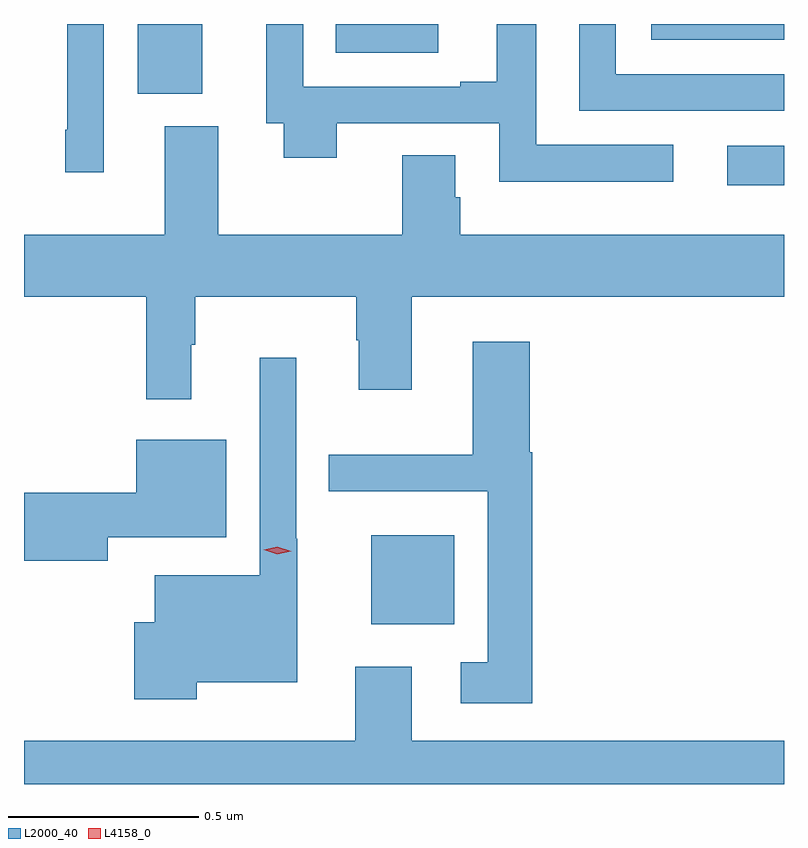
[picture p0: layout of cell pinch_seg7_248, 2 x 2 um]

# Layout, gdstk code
import gdstk
lib = gdstk.Library(unit=1e-6, precision=1e-09)
def R(c, l, rs):  # rectangles x0, y0, x1, y1
    for r in rs: c.add(gdstk.rectangle(r[:2], r[2:], *l))
def P(c, l, *ps):  # polygons
    for p in ps: c.add(gdstk.Polygon(p, *l))
L2000_40 = (2000, 40)
L4158_0 = (4158, 0)

pinch_seg7_248 = lib.new_cell('pinch_seg7_248')
R(pinch_seg7_248, L2000_40, [(845.072,1063.691,845.29,1063.924), (846.009,1064.846,846.158,1064.95), (844.457,1065.086,844.627,1065.27), (844.978,1065.195,845.248,1065.27), (845.808,1065.228,846.158,1065.27)])
P(pinch_seg7_248, L2000_40, [(846.158,1065.138),(845.715,1065.138),(845.715,1065.27),(845.619,1065.27),(845.619,1065.042),(846.158,1065.042)],
  [(844.368,1065.27),(844.272,1065.27),(844.272,1064.992),(844.267,1064.992),(844.267,1064.88),(844.368,1064.88)],
  [(845.866,1064.952),(845.506,1064.952),(845.506,1065.27),(845.402,1065.27),(845.402,1065.118),(845.306,1065.118),(845.306,1065.105),(844.893,1065.105),(844.893,1065.27),(844.796,1065.27),(844.796,1065.009),(844.841,1065.009),(844.841,1064.918),(844.981,1064.918),(844.981,1065.009),(845.409,1065.009),(845.409,1064.855),(845.866,1064.855)],
  [(844.529,1064.716),(844.158,1064.716),(844.158,1064.552),(844.48,1064.552),(844.48,1064.283),(844.598,1064.283),(844.598,1064.426),(844.609,1064.426),(844.609,1064.552),(845.032,1064.552),(845.032,1064.438),(845.039,1064.438),(845.039,1064.307),(845.179,1064.307),(845.179,1064.552),(846.158,1064.552),(846.158,1064.716),(845.306,1064.716),(845.306,1064.814),(845.293,1064.814),(845.293,1064.924),(845.153,1064.924),(845.153,1064.716),(844.669,1064.716),(844.669,1065.001),(844.529,1065.001)],
  [(845.495,1064.143),(845.489,1064.143),(845.489,1064.434),(845.339,1064.434),(845.339,1064.137),(844.96,1064.137),(844.96,1064.04),(845.379,1064.04),(845.379,1063.591),(845.307,1063.591),(845.307,1063.482),(845.495,1063.482)],
  [(844.612,1063.538),(844.877,1063.538),(844.877,1063.915),(844.875,1063.915),(844.875,1064.392),(844.779,1064.392),(844.779,1063.819),(844.502,1063.819),(844.502,1063.696),(844.448,1063.696),(844.448,1063.493),(844.612,1063.493)],
  [(844.378,1063.92),(844.69,1063.92),(844.69,1064.176),(844.454,1064.176),(844.454,1064.036),(844.158,1064.036),(844.158,1063.858),(844.378,1063.858)],
  [(846.158,1063.384),(845.179,1063.384),(845.179,1063.579),(845.03,1063.579),(845.03,1063.384),(844.158,1063.384),(844.158,1063.27),(846.158,1063.27)])
P(pinch_seg7_248, L4158_0, [(844.824,1063.875),(844.789,1063.887),(844.789,1063.887),(844.789,1063.887),(844.825,1063.895),(844.861,1063.883),(844.861,1063.883),(844.861,1063.883)])

lib.write_gds('pinch_seg7_248.gds')
